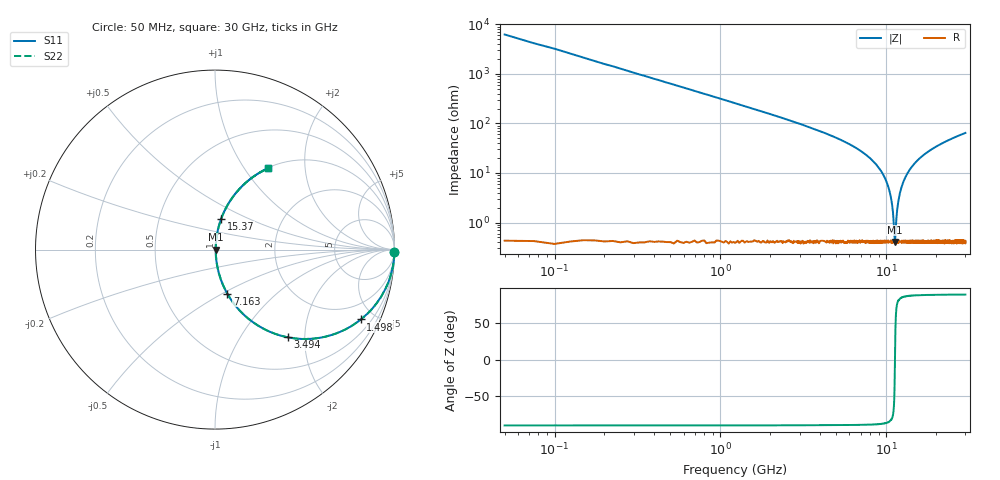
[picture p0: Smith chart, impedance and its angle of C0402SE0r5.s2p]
!	AVX Thin Film Operation 	Date: April 2014
!	Description: Accu-P® Series, Thin Film  SMD RF Capacitor
!	Part Number: 04021J0R5ZBSTR
# MHZ S MA R 50
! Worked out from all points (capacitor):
!   1201 points, 50 MHz to 30 GHz, reference 50 ohm
!   read as one part in series: C = 500 fF near 199.8 MHz
!   lowest |Z| = 406 mohm at 11.28 GHz (marker M1)
!   series resonance near 11.28 GHz, so ESL is about 400 pH
!   S11 on the Smith chart (normalised r, x): 50 MHz: open; 1.498 GHz: 1.01, -4.18; 3.494 GHz: 1.01, -1.65; 7.163 GHz: 1.01, -0.53; 15.37 GHz: 1.01, +0.35; 30 GHz: 1.01, +1.29
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50  1 -0.9  0.016 89.1  0.016 89.1  1 -0.9
274.625  0.996 -4.9  0.086 85.0  0.086 85.0  0.996 -4.9
524.208  0.987 -9.4  0.163 80.6  0.163 80.6  0.987 -9.4
923.542  0.96 -16.3  0.28 73.7  0.28 73.7  0.96 -16.3
1497.583  0.901 -25.6  0.432 64.3  0.432 64.3  0.901 -25.6
3494.25  0.634 -50.4  0.77 39.4  0.77 39.4  0.634 -50.4
5041.667  0.45 -62.8  0.89 26.7  0.89 26.7  0.45 -62.8
7163.125  0.255 -74.3  0.963 14.8  0.963 14.8  0.255 -74.3
8885.25  0.134 -80.6  0.987 7.7  0.987 7.7  0.134 -80.6
10058.29  0.065 -82.7  0.994 3.7  0.994 3.7  0.065 -82.7
10732.17  0.028 -80.1  0.996 1.6  0.996 1.6  0.028 -80.1
11281.25  0.004084 -0.7  0.996 0.0  0.996 0.0  0.004084 -0.7
11381.08  0.006382 49.9  0.996 -0.3  0.996 -0.3  0.006382 49.9
11580.75  0.015 73.6  0.996 -0.8  0.996 -0.8  0.015 73.6
11780.42  0.025 79.1  0.996 -1.4  0.996 -1.4  0.025 79.1
12379.42  0.052 82.5  0.995 -3.0  0.995 -3.0  0.052 82.5
13377.75  0.096 82.1  0.991 -5.5  0.991 -5.5  0.096 82.1
15025  0.161 79.3  0.983 -9.3  0.983 -9.3  0.161 79.3
15374.42  0.174 78.7  0.981 -10.0  0.981 -10.0  0.174 78.7
20016.67  0.322 70.5  0.943 -18.8  0.943 -18.8  0.322 70.5
25033.29  0.445 63.1  0.892 -26.4  0.892 -26.4  0.445 63.1
30000  0.54 57.0  0.838 -32.7  0.838 -32.7  0.54 57.0
